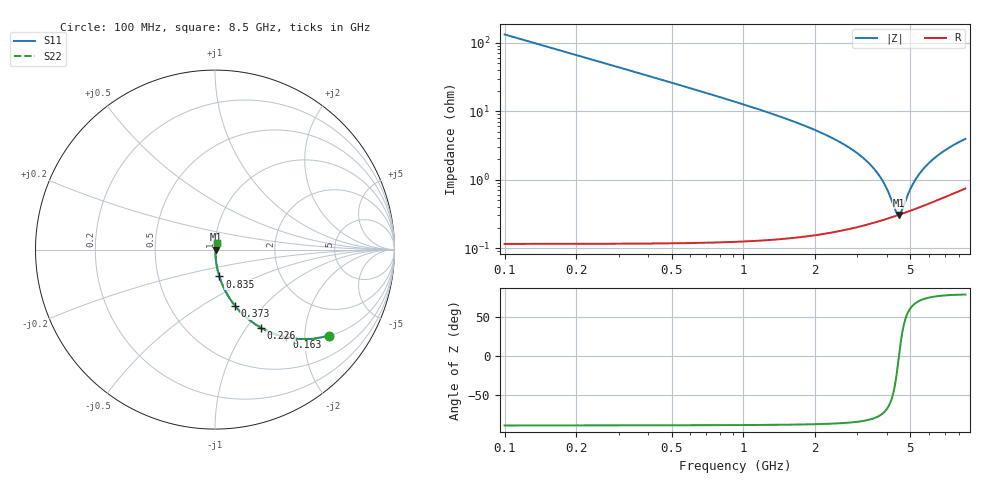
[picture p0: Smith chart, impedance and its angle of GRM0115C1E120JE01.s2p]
!Murata Part Number: GRM0115C1E120JE01
!These Parameters are Measured in Series Mode Connection
!Data Generated on Mar 30, 2021
!  o--ll--o
!Port1  Port2
!  o------o
!Operation Temp=25[degC], DC Bias Voltage=0[V]
!Freq. Start=100[MHz] Stop=9[GHz] 401[Steps]
# Hz S RI R 50
!Freq.(Hz) S11(Real) S11(Imag) S21(Real) S21(Imag) S12(Real) S12(Imag) S22(Real) S22(Imag)
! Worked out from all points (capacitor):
!   401 points, 100 MHz to 8.5 GHz, reference 50 ohm
!   read as one part in series: C = 12 pF near 142 MHz
!   lowest |Z| = 306 mohm at 4.468 GHz (marker M1)
!   series resonance near 4.48 GHz, so ESL is about 110 pH
!   S11 on the Smith chart (normalised r, x): 100 MHz: 1.00, -2.65; 163 MHz: 1.00, -1.63; 226 MHz: 1.00, -1.17; 373 MHz: 1.00, -0.71; 835 MHz: 1.00, -0.31; 8.5 GHz: 1.01, +0.08
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1e8  0.6372 -0.4804  0.3628 0.4804  0.3628 0.4804  0.6372 -0.4804
1.63e8  0.3978 -0.4887  0.6022 0.4887  0.6022 0.4887  0.3978 -0.4887
2.26e8  0.2556 -0.4352  0.7444 0.4352  0.7444 0.4352  0.2556 -0.4352
2.89e8  0.1734 -0.3773  0.8266 0.3773  0.8266 0.3773  0.1734 -0.3773
3.73e8  0.1116 -0.3133  0.8884 0.3133  0.8884 0.3133  0.1116 -0.3133
5.83e8  0.0486 -0.2125  0.9514 0.2125  0.9514 0.2125  0.0486 -0.2125
8.35e8  0.0241 -0.1494  0.9759 0.1494  0.9759 0.1494  0.0241 -0.1494
1.507e9  0.00738 -0.0773  0.9926 0.0773  0.9926 0.0773  0.00738 -0.0773
2.914e9  0.00265 -0.026  0.9973 0.026  0.9973 0.026  0.00265 -0.026
3.376e9  0.00253 -0.0168  0.9975 0.0168  0.9975 0.0168  0.00253 -0.0168
3.733e9  0.0026 -0.0107  0.9974 0.0107  0.9974 0.0107  0.0026 -0.0107
4.006e9  0.00273 -0.00653  0.9973 0.00653  0.9973 0.00653  0.00273 -0.00653
4.3e9  0.00292 -0.00239  0.9971 0.00239  0.9971 0.00239  0.00292 -0.00239
4.384e9  0.00298 -0.00126  0.997 0.00126  0.997 0.00126  0.00298 -0.00126
4.468e9  0.00305 -0.000158  0.997 0.000158  0.997 0.000158  0.00305 -0.000158
4.573e9  0.00313 0.00119  0.9969 -0.00119  0.9969 -0.00119  0.00313 0.00119
4.888e9  0.00343 0.00505  0.9966 -0.00505  0.9966 -0.00505  0.00343 0.00505
5.119e9  0.00367 0.00773  0.9963 -0.00773  0.9963 -0.00773  0.00367 0.00773
5.707e9  0.00437 0.014  0.9956 -0.014  0.9956 -0.014  0.00437 0.014
6.316e9  0.0052 0.02  0.9948 -0.02  0.9948 -0.02  0.0052 0.02
7.114e9  0.00643 0.0271  0.9936 -0.0271  0.9936 -0.0271  0.00643 0.0271
8.5e9  0.00884 0.0382  0.9912 -0.0382  0.9912 -0.0382  0.00884 0.0382
